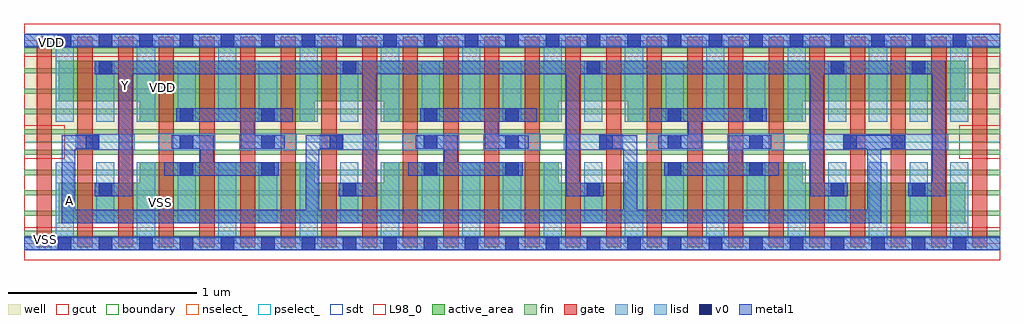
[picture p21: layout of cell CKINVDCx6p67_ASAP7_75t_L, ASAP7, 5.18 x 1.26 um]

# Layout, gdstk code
import gdstk
lib = gdstk.Library(unit=1e-6, precision=2.5e-10)
def R(c, l, rs):  # rectangles x0, y0, x1, y1
    for r in rs: c.add(gdstk.rectangle(r[:2], r[2:], *l))
def A(c, l, x, y, w, h, nx, ny, dx, dy):  # array of equal rectangles
    R(c, l, [(x+i*dx, y+j*dy, x+i*dx+w, y+j*dy+h) for i in range(nx) for j in range(ny)])
def P(c, l, *ps):  # polygons
    for p in ps: c.add(gdstk.Polygon(p, *l))
well = (1, 0)
fin = (2, 0)
gate = (7, 0)
gcut = (10, 0)
active_area = (11, 0)
nselect_ = (12, 0)
pselect_ = (13, 0)
lig = (16, 0)
lisd = (17, 0)
v0 = (18, 0)
metal1 = (19, 0)
sdt = (88, 0)
L98_0 = (98, 0)
boundary = (100, 0)

ckinvdcx6p67_asap7_75t_l = lib.new_cell('CKINVDCx6p67_ASAP7_75t_L')
R(ckinvdcx6p67_asap7_75t_l, well, [(0,0.54,5.184,1.08)])
A(ckinvdcx6p67_asap7_75t_l, fin, 0, 0.04, 5.184, 0.028, 1, 10, 0, 0.108)
A(ckinvdcx6p67_asap7_75t_l, gate, 0.068, -0.02, 0.08, 1.12, 24, 1, 0.216, 0)
R(ckinvdcx6p67_asap7_75t_l, gcut, [(0,-0.088,5.184,0.088), (0,0.452,0.216,0.628), (4.968,0.452,5.184,0.628), (0,0.992,5.184,1.168)])
P(ckinvdcx6p67_asap7_75t_l, active_area, [(5,0.972),(0.184,0.972),(0.184,0.756),(0.616,0.756),(0.616,0.648),(1.544,0.648),(1.544,0.756),(1.912,0.756),(1.912,0.648),(2.84,0.648),(2.84,0.756),(3.208,0.756),(3.208,0.648),(4.136,0.648),(4.136,0.756),(5,0.756)],
  [(5,0.324),(4.136,0.324),(4.136,0.432),(3.208,0.432),(3.208,0.324),(2.84,0.324),(2.84,0.432),(1.912,0.432),(1.912,0.324),(1.544,0.324),(1.544,0.432),(0.616,0.432),(0.616,0.324),(0.184,0.324),(0.184,0.108),(5,0.108)])
R(ckinvdcx6p67_asap7_75t_l, nselect_, [(0,0,5.184,0.54)])
R(ckinvdcx6p67_asap7_75t_l, pselect_, [(0,0.54,5.184,1.08)])
A(ckinvdcx6p67_asap7_75t_l, lig, 0.276, 0.5, 0.312, 0.08, 3, 1, 1.296, 0)
R(ckinvdcx6p67_asap7_75t_l, lig, [(0,-0.032,5.184,0.032), (0.712,0.496,1.016,0.584), (1.144,0.496,1.448,0.584), (2.008,0.496,2.312,0.584), (2.44,0.496,2.744,0.584), (3.304,0.496,3.608,0.584), (3.736,0.496,4.04,0.584), (4.164,0.5,4.908,0.58), (0,1.048,5.184,1.112)])
A(ckinvdcx6p67_asap7_75t_l, lisd, 0.168, 0, 0.096, 0.432, 12, 2, 0.432, 0.648)
A(ckinvdcx6p67_asap7_75t_l, lisd, 0.384, 0.108, 0.096, 0.324, 11, 2, 0.432, 0.54)
A(ckinvdcx6p67_asap7_75t_l, v0, 0.18, -0.036, 0.072, 0.072, 23, 2, 0.216, 1.08)
A(ckinvdcx6p67_asap7_75t_l, v0, 0.396, 0.252, 0.072, 0.072, 4, 2, 1.296, 0.648)
A(ckinvdcx6p67_asap7_75t_l, v0, 0.828, 0.36, 0.072, 0.072, 1, 3, 0, 0.144)
A(ckinvdcx6p67_asap7_75t_l, v0, 1.26, 0.36, 0.072, 0.072, 1, 3, 0, 0.144)
A(ckinvdcx6p67_asap7_75t_l, v0, 2.124, 0.36, 0.072, 0.072, 1, 3, 0, 0.144)
A(ckinvdcx6p67_asap7_75t_l, v0, 2.556, 0.36, 0.072, 0.072, 1, 3, 0, 0.144)
A(ckinvdcx6p67_asap7_75t_l, v0, 3.42, 0.36, 0.072, 0.072, 1, 3, 0, 0.144)
A(ckinvdcx6p67_asap7_75t_l, v0, 3.852, 0.36, 0.072, 0.072, 1, 3, 0, 0.144)
R(ckinvdcx6p67_asap7_75t_l, v0, [(4.716,0.252,4.788,0.324), (0.328,0.504,0.4,0.576), (1.624,0.504,1.696,0.576), (3.056,0.504,3.128,0.576), (4.352,0.504,4.424,0.576), (4.608,0.504,4.68,0.576), (4.716,0.9,4.788,0.972)])
R(ckinvdcx6p67_asap7_75t_l, metal1, [(0,-0.036,5.184,0.036), (0,1.044,5.184,1.116)])
P(ckinvdcx6p67_asap7_75t_l, metal1, [(4.896,0.972),(0.376,0.972),(0.376,0.9),(0.504,0.9),(0.504,0.324),(0.376,0.324),(0.376,0.252),(0.576,0.252),(0.576,0.9),(1.8,0.9),(1.8,0.324),(1.672,0.324),(1.672,0.252),(1.872,0.252),(1.872,0.9),(2.88,0.9),(2.88,0.252),(3.08,0.252),(3.08,0.324),(2.952,0.324),(2.952,0.9),(4.176,0.9),(4.176,0.252),(4.376,0.252),(4.376,0.324),(4.248,0.324),(4.248,0.9),(4.824,0.9),(4.824,0.324),(4.696,0.324),(4.696,0.252),(4.896,0.252)],
  [(4.008,0.432),(3.816,0.432),(3.816,0.504),(3.968,0.504),(3.968,0.576),(3.744,0.576),(3.744,0.432),(3.4,0.432),(3.4,0.36),(4.008,0.36)],
  [(4.68,0.576),(4.352,0.576),(4.352,0.504),(4.48,0.504),(4.48,0.18),(3.256,0.18),(3.256,0.576),(3.056,0.576),(3.056,0.504),(3.184,0.504),(3.184,0.18),(1.568,0.18),(1.568,0.504),(1.696,0.504),(1.696,0.576),(1.496,0.576),(1.496,0.18),(0.272,0.18),(0.272,0.504),(0.4,0.504),(0.4,0.576),(0.2,0.576),(0.2,0.108),(4.552,0.108),(4.552,0.504),(4.68,0.504)],
  [(3.944,0.72),(3.324,0.72),(3.324,0.648),(3.528,0.648),(3.528,0.576),(3.368,0.576),(3.368,0.504),(3.6,0.504),(3.6,0.648),(3.944,0.648)],
  [(2.724,0.72),(2.104,0.72),(2.104,0.648),(2.448,0.648),(2.448,0.504),(2.68,0.504),(2.68,0.576),(2.52,0.576),(2.52,0.648),(2.724,0.648)],
  [(2.648,0.432),(2.304,0.432),(2.304,0.576),(2.08,0.576),(2.08,0.504),(2.232,0.504),(2.232,0.432),(2.04,0.432),(2.04,0.36),(2.648,0.36)],
  [(1.428,0.72),(0.808,0.72),(0.808,0.648),(1.152,0.648),(1.152,0.504),(1.384,0.504),(1.384,0.576),(1.224,0.576),(1.224,0.648),(1.428,0.648)],
  [(1.352,0.432),(1.008,0.432),(1.008,0.576),(0.784,0.576),(0.784,0.504),(0.936,0.504),(0.936,0.432),(0.744,0.432),(0.744,0.36),(1.352,0.36)])
A(ckinvdcx6p67_asap7_75t_l, sdt, 0.384, 0.108, 0.096, 0.216, 4, 2, 1.296, 0.648)
A(ckinvdcx6p67_asap7_75t_l, sdt, 0.6, 0.108, 0.096, 0.324, 5, 2, 0.216, 0.54)
A(ckinvdcx6p67_asap7_75t_l, sdt, 1.896, 0.108, 0.096, 0.324, 5, 2, 0.216, 0.54)
A(ckinvdcx6p67_asap7_75t_l, sdt, 3.192, 0.108, 0.096, 0.324, 5, 2, 0.216, 0.54)
A(ckinvdcx6p67_asap7_75t_l, sdt, 4.488, 0.108, 0.096, 0.216, 3, 2, 0.216, 0.648)
R(ckinvdcx6p67_asap7_75t_l, sdt, [(0.168,0.108,0.264,0.324), (0.168,0.756,0.264,0.972)])
R(ckinvdcx6p67_asap7_75t_l, L98_0, [(0,0,5.184,1.08)])
R(ckinvdcx6p67_asap7_75t_l, boundary, [(0,0,5.184,1.08)])
ckinvdcx6p67_asap7_75t_l.add(gdstk.Label('VDD', (0.736,0.828), layer=1, texttype=251))
ckinvdcx6p67_asap7_75t_l.add(gdstk.Label('VSS', (0.116,0.024), layer=19, texttype=251))
ckinvdcx6p67_asap7_75t_l.add(gdstk.Label('VDD', (0.144,1.066), layer=19, texttype=251))
ckinvdcx6p67_asap7_75t_l.add(gdstk.Label('Y', (0.54,0.84), layer=19, texttype=251))
ckinvdcx6p67_asap7_75t_l.add(gdstk.Label('A', (0.24,0.228), layer=19, texttype=251))
ckinvdcx6p67_asap7_75t_l.add(gdstk.Label('VSS', (0.724,0.22), layer=3, texttype=251))

lib.write_gds('CKINVDCx6p67_ASAP7_75t_L.gds')
